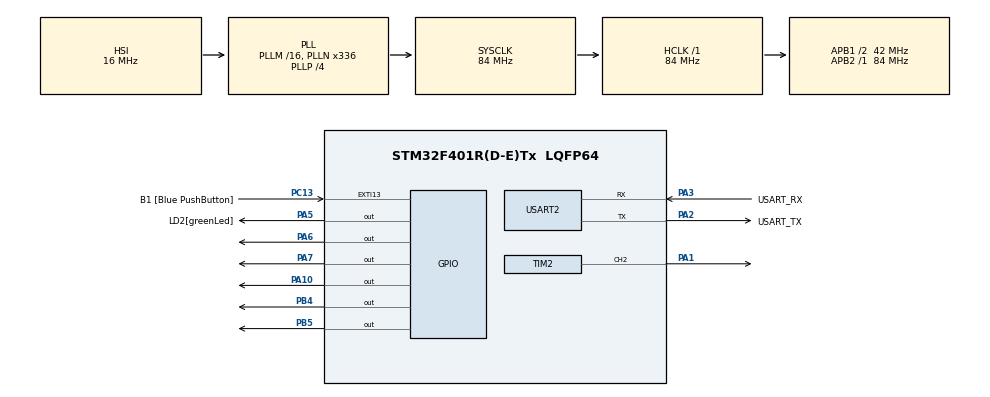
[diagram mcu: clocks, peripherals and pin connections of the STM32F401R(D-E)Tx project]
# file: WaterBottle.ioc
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Mcu.Family=STM32F4
Mcu.Name=STM32F401R(D-E)Tx
Mcu.Package=LQFP64
NVIC.PriorityGroup=NVIC_PRIORITYGROUP_0
NVIC.RTC_Alarm_IRQn=true\:0\:0\:false\:false\:true\:true\:true\:true
PA1.Signal=S_TIM2_CH2
PA10.Signal=GPIO_Output
PA13.GPIO_Label=TMS
PA13.Mode=Serial_Wire
PA13.Signal=SYS_JTMS-SWDIO
PA14.GPIO_Label=TCK
PA14.Mode=Serial_Wire
PA14.Signal=SYS_JTCK-SWCLK
PA2.GPIO_Label=USART_TX
PA2.GPIO_Mode=GPIO_MODE_AF_PP
PA2.GPIO_PuPd=GPIO_NOPULL
PA2.GPIO_Speed=GPIO_SPEED_FREQ_LOW
PA2.Mode=Asynchronous
PA2.Signal=USART2_TX
PA3.GPIO_Label=USART_RX
PA3.GPIO_Mode=GPIO_MODE_AF_PP
PA3.GPIO_PuPd=GPIO_NOPULL
PA3.GPIO_Speed=GPIO_SPEED_FREQ_LOW
PA3.Mode=Asynchronous
PA3.Signal=USART2_RX
PA5.GPIO_Label=LD2[greenLed]
PA5.Signal=GPIO_Output
PA6.Signal=GPIO_Output
PA7.Signal=GPIO_Output
PB3.Signal=SYS_JTDO-SWO
PB4.Signal=GPIO_Output
PB5.Signal=GPIO_Output
PC13-ANTI_TAMP.GPIO_Label=B1 [Blue PushButton]
PC13-ANTI_TAMP.GPIO_ModeDefaultEXTI=GPIO_MODE_IT_FALLING
PC13-ANTI_TAMP.GPIO_PuPd=GPIO_NOPULL
PC13-ANTI_TAMP.Signal=GPXTI13
PC14-OSC32_IN.Mode=LSE-External-Oscillator
PC14-OSC32_IN.Signal=RCC_OSC32_IN
PC15-OSC32_OUT.Mode=LSE-External-Oscillator
PC15-OSC32_OUT.Signal=RCC_OSC32_OUT
PH0\ -\ OSC_IN.Mode=HSE-External-Clock-Source
PH0\ -\ OSC_IN.Signal=RCC_OSC_IN
PH1\ -\ OSC_OUT.Mode=HSE-External-Clock-Source
PH1\ -\ OSC_OUT.Signal=RCC_OSC_OUT
ProjectManager.HeapSize=0x200
ProjectManager.StackSize=0x400
ProjectManager.TargetToolchain=STM32CubeIDE
RCC.48MHZClocksFreq_Value=48000000
RCC.AHBFreq_Value=84000000
RCC.APB1CLKDivider=RCC_HCLK_DIV2
RCC.APB1Freq_Value=42000000
RCC.APB1TimFreq_Value=84000000
RCC.APB2Freq_Value=84000000
RCC.APB2TimFreq_Value=84000000
RCC.CortexFreq_Value=84000000
RCC.HCLKFreq_Value=84000000
RCC.HSE_VALUE=8000000
RCC.HSI_VALUE=16000000
RCC.PLLN=336
RCC.PLLP=RCC_PLLP_DIV4
RCC.PLLQ=7
RCC.RCC_RTC_Clock_Source=RCC_RTCCLKSOURCE_LSE
RCC.SYSCLKFreq_VALUE=84000000
RCC.SYSCLKSource=RCC_SYSCLKSOURCE_PLLCLK
RCC.VCOOutputFreq_Value=336000000
RTC.Alarm=RTC_ALARM_A
RTC.Date=22
RTC.Month=RTC_MONTH_NOVEMBER
RTC.Seconds_A=0
RTC.WeekDay=RTC_WEEKDAY_WEDNESDAY
SH.S_TIM2_CH2.0=TIM2_CH2,PWM Generation2 CH2
TIM2.Channel-PWM\ Generation2\ CH2=TIM_CHANNEL_2
USART2.VirtualMode=VM_ASYNC
VP_RTC_VS_RTC_Activate.Mode=RTC_Enabled
VP_RTC_VS_RTC_Alarm_A_Intern.Mode=Alarm A
VP_RTC_VS_RTC_Calendar.Mode=RTC_Calendar
VP_TIM2_VS_ClockSourceINT.Mode=Internal
board=NUCLEO-F401RE

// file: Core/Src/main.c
/* USER CODE BEGIN Header */
/**
  ******************************************************************************
  * @file           : main.c
  * @brief          : Main program body
  ******************************************************************************
  * @attention
  *
  * Copyright (c) 2023 STMicroelectronics.
  * All rights reserved.
  *
  * This software is licensed under terms that can be found in the LICENSE file
  * in the root directory of this software component.
  * If no LICENSE file comes with this software, it is provided AS-IS.
  *
  ******************************************************************************
  */
/* USER CODE END Header */
#include "main.h"

/* USER CODE BEGIN Includes */
#include "HX711.h"
#include <stdio.h>
/* USER CODE END Includes */

RTC_HandleTypeDef hrtc;

TIM_HandleTypeDef htim2;

UART_HandleTypeDef huart2;

void SystemClock_Config(void);
static void MX_GPIO_Init(void);
static void MX_USART2_UART_Init(void);
static void MX_TIM2_Init(void);
static void MX_RTC_Init(void);

/* USER CODE BEGIN 0 */
void buzzer(){
	  HAL_GPIO_WritePin(GPIOA, GPIO_PIN_10, 1);
	  HAL_Delay(500);
 	  HAL_GPIO_WritePin(GPIOA, GPIO_PIN_10, 0);
	  HAL_Delay(500);
}

/**
 * @brief  Weight Initialization Function
 * @retval None
 */
void init_weight(hx711_t *hx711){
	char buffer[128] = {0};

	printf(buffer,"HX711 initialization\n\r");
	HAL_UART_Transmit(&huart2, (uint8_t *)(buffer), sizeof(buffer), 100);

	/* Initialize the hx711 sensors */
	hx711_init(hx711, GPIOB, GPIO_PIN_4, GPIOB, GPIO_PIN_5);

	/* Configure gain for each channel (see datasheet for details) */
	set_gain(hx711, 128, 32);

	/* Set HX711 scaling factor (see README for procedure) */
	set_scale(hx711, -44.25, -10.98);

	/* Tare weight */
	tare_all(hx711, 10);

	printf(buffer,"HX711 module has been initialized\n\r");
	HAL_UART_Transmit(&huart2, (uint8_t *)(buffer), sizeof(buffer), 100);
}

/**
 * @brief  Weight Measuring Function
 * @retval the weight measured for each associated channel
 */

float measure_weight(hx711_t hx711){
	long weightA = 0;

	// Measure the weight for channel A
	weightA = get_weight(&hx711, 10, CHANNEL_A);
	// Weight cannot be negative
	weightA = (weightA < 0) ? 0 : weightA;

	return weightA;
}

int _write(int le, char *ptr, int len){
	int DataIdx;
	for(DataIdx = 0; DataIdx < len; DataIdx++){
		ITM_SendChar(*ptr++);
	}
	return len;
}

float calculate(const float previous_weight, const float current_weight){
	int ans = previous_weight - current_weight;
	if(ans > 0.0) {
		return ans;
	} else {
		return 0.0;
	}
}

int get_time_in_seconds(void){
	 RTC_DateTypeDef gDate;
	 RTC_TimeTypeDef gTime;
	/* Get the RTC current Time */
	 HAL_RTC_GetTime(&hrtc, &gTime, RTC_FORMAT_BIN);
	/* Get the RTC current Date */
	 HAL_RTC_GetDate(&hrtc, &gDate, RTC_FORMAT_BIN);
	 int seconds = gTime.Hours * 3600 + gTime.Minutes * 60 + gTime.Seconds;
	 return seconds;
}

float moving_average(float arr[]) {
	int size = 5;
	int window_size = 3;
	int i = 0;
	float moving_averages[3];
	while (i < size - window_size + 1) {
		int window[3];
		int j;

		for (j = 0; j < window_size; j++) {
			window[j] = arr[i + j];
		}

		float window_average = 0;

		for (j = 0; j < window_size; j++) {
			window_average += window[j];
		}
		window_average /= window_size;
		moving_averages[i] = window_average;
		i++;
    }
	float sum = 0;
	for(i = 0; i < 3; i++)
        sum += moving_averages[i];
	float moving_average = sum/3;
	return moving_average;
}

/* USER CODE END 0 */

int main(void)
{

  /* MCU Configuration--------------------------------------------------------*/

  /* Reset of all peripherals, Initializes the Flash interface and the Systick. */
  HAL_Init();

  /* Configure the system clock */
  SystemClock_Config();

  /* Initialize all configured peripherals */
  MX_GPIO_Init();
  MX_USART2_UART_Init();
  MX_TIM2_Init();
  MX_RTC_Init();
  /* USER CODE BEGIN 2 */
  hx711_t loadcell;
  float weight;
  init_weight(&loadcell);

  float previous_weight;
  hx711_init(&loadcell, GPIOB, GPIO_PIN_4, GPIOB, GPIO_PIN_5);
  int lightOnOff = 0;
  int maleMode = 1;
  float waterConsumed = 0;
  const int MALE_GOAL = 1000;
  const int FEMALE_GOAL = 800;
  int previous_time = get_time_in_seconds();
  int current_time = 0;
  int FIRST = 1;
  int water_level_changed = 0;
  /* USER CODE END 2 */

  /* Infinite loop */
  while (1)
  {

    /* USER CODE BEGIN 3 */
	  printf("Program running ... \n");
	  if(HAL_GPIO_ReadPin(GPIOC, GPIO_PIN_13) == GPIO_PIN_RESET){
		  if(lightOnOff == 0) lightOnOff = 1;
		  else lightOnOff = 0;

		  HAL_GPIO_WritePin(GPIOA, GPIO_PIN_6, lightOnOff);

		  if(maleMode == 1) maleMode = 0;
		  else maleMode = 1;
//		  buzzer();
	  }

	  if(FIRST == 1){
	  	previous_weight = measure_weight(loadcell);
	  	FIRST = 0;
	  }

	  float arr[5];
	  for(int i = 0; i < 5; i++) {
		  arr[i] = measure_weight(loadcell);
	  }
	  weight = moving_average(arr);

	  printf("%f",weight);
	  int calc = calculate(previous_weight, weight);
	  // ignore change in water level if less than 5
	  if(calc < 5){
		  calc = 0;
		  water_level_changed = 0;
	  }else {
		  water_level_changed = 1;
		  current_time = get_time_in_seconds();
		  previous_time = current_time;
	  }
	  waterConsumed += calc;
	  previous_weight = weight;

	  if(maleMode == 1){
	  	if(waterConsumed >= MALE_GOAL){
	  		HAL_GPIO_WritePin(GPIOA, GPIO_PIN_7, 1);
	  	}
	  }
	  else{
		if(waterConsumed >= FEMALE_GOAL) {
			HAL_GPIO_WritePin(GPIOA, GPIO_PIN_7, 1);
		}
	  }

	  current_time = get_time_in_seconds();
	  if(current_time - previous_time > 10){
		  previous_time = current_time;
		  if(water_level_changed == 0){
			  buzzer();
		  }
	  }
 }
  /* USER CODE END 3 */
}

void SystemClock_Config(void)
{
  RCC_OscInitTypeDef RCC_OscInitStruct = {0};
  RCC_ClkInitTypeDef RCC_ClkInitStruct = {0};

  /** Configure the main internal regulator output voltage
  */
  __HAL_RCC_PWR_CLK_ENABLE();
  __HAL_PWR_VOLTAGESCALING_CONFIG(PWR_REGULATOR_VOLTAGE_SCALE2);

  /** Initializes the RCC Oscillators according to the specified parameters
  * in the RCC_OscInitTypeDef structure.
  */
  RCC_OscInitStruct.OscillatorType = RCC_OSCILLATORTYPE_HSI|RCC_OSCILLATORTYPE_LSE;
  RCC_OscInitStruct.LSEState = RCC_LSE_ON;
  RCC_OscInitStruct.HSIState = RCC_HSI_ON;
  RCC_OscInitStruct.HSICalibrationValue = RCC_HSICALIBRATION_DEFAULT;
  RCC_OscInitStruct.PLL.PLLState = RCC_PLL_ON;
  RCC_OscInitStruct.PLL.PLLSource = RCC_PLLSOURCE_HSI;
  RCC_OscInitStruct.PLL.PLLM = 16;
  RCC_OscInitStruct.PLL.PLLN = 336;
  RCC_OscInitStruct.PLL.PLLP = RCC_PLLP_DIV4;
  RCC_OscInitStruct.PLL.PLLQ = 7;
  if (HAL_RCC_OscConfig(&RCC_OscInitStruct) != HAL_OK)
  {
    Error_Handler();
  }

  /** Initializes the CPU, AHB and APB buses clocks
  */
  RCC_ClkInitStruct.ClockType = RCC_CLOCKTYPE_HCLK|RCC_CLOCKTYPE_SYSCLK
                              |RCC_CLOCKTYPE_PCLK1|RCC_CLOCKTYPE_PCLK2;
  RCC_ClkInitStruct.SYSCLKSource = RCC_SYSCLKSOURCE_PLLCLK;
  RCC_ClkInitStruct.AHBCLKDivider = RCC_SYSCLK_DIV1;
  RCC_ClkInitStruct.APB1CLKDivider = RCC_HCLK_DIV2;
  RCC_ClkInitStruct.APB2CLKDivider = RCC_HCLK_DIV1;

  if (HAL_RCC_ClockConfig(&RCC_ClkInitStruct, FLASH_LATENCY_2) != HAL_OK)
  {
    Error_Handler();
  }
}

static void MX_RTC_Init(void)
{

  RTC_TimeTypeDef sTime = {0};
  RTC_DateTypeDef sDate = {0};
  RTC_AlarmTypeDef sAlarm = {0};

  /** Initialize RTC Only
  */
  hrtc.Instance = RTC;
  hrtc.Init.HourFormat = RTC_HOURFORMAT_24;
  hrtc.Init.AsynchPrediv = 127;
  hrtc.Init.SynchPrediv = 255;
  hrtc.Init.OutPut = RTC_OUTPUT_DISABLE;
  hrtc.Init.OutPutPolarity = RTC_OUTPUT_POLARITY_HIGH;
  hrtc.Init.OutPutType = RTC_OUTPUT_TYPE_OPENDRAIN;
  if (HAL_RTC_Init(&hrtc) != HAL_OK)
  {
    Error_Handler();
  }

  /** Initialize RTC and set the Time and Date
  */
  sTime.Hours = 0x0;
  sTime.Minutes = 0x0;
  sTime.Seconds = 0x0;
  sTime.DayLightSaving = RTC_DAYLIGHTSAVING_NONE;
  sTime.StoreOperation = RTC_STOREOPERATION_RESET;
  if (HAL_RTC_SetTime(&hrtc, &sTime, RTC_FORMAT_BCD) != HAL_OK)
  {
    Error_Handler();
  }
  sDate.WeekDay = RTC_WEEKDAY_WEDNESDAY;
  sDate.Month = RTC_MONTH_NOVEMBER;
  sDate.Date = 0x22;
  sDate.Year = 0x0;

  if (HAL_RTC_SetDate(&hrtc, &sDate, RTC_FORMAT_BCD) != HAL_OK)
  {
    Error_Handler();
  }

  /** Enable the Alarm A
  */
  sAlarm.AlarmTime.Hours = 0x0;
  sAlarm.AlarmTime.Minutes = 0x0;
  sAlarm.AlarmTime.Seconds = 0x0;
  sAlarm.AlarmTime.SubSeconds = 0x0;
  sAlarm.AlarmTime.DayLightSaving = RTC_DAYLIGHTSAVING_NONE;
  sAlarm.AlarmTime.StoreOperation = RTC_STOREOPERATION_RESET;
  sAlarm.AlarmMask = RTC_ALARMMASK_NONE;
  sAlarm.AlarmSubSecondMask = RTC_ALARMSUBSECONDMASK_ALL;
  sAlarm.AlarmDateWeekDaySel = RTC_ALARMDATEWEEKDAYSEL_DATE;
  sAlarm.AlarmDateWeekDay = 0x1;
  sAlarm.Alarm = RTC_ALARM_A;
  if (HAL_RTC_SetAlarm_IT(&hrtc, &sAlarm, RTC_FORMAT_BCD) != HAL_OK)
  {
    Error_Handler();
  }

}

static void MX_TIM2_Init(void)
{

  TIM_ClockConfigTypeDef sClockSourceConfig = {0};
  TIM_MasterConfigTypeDef sMasterConfig = {0};
  TIM_OC_InitTypeDef sConfigOC = {0};

  htim2.Instance = TIM2;
  htim2.Init.Prescaler = 0;
  htim2.Init.CounterMode = TIM_COUNTERMODE_UP;
  htim2.Init.Period = 4294967295;
  htim2.Init.ClockDivision = TIM_CLOCKDIVISION_DIV1;
  htim2.Init.AutoReloadPreload = TIM_AUTORELOAD_PRELOAD_DISABLE;
  if (HAL_TIM_Base_Init(&htim2) != HAL_OK)
  {
    Error_Handler();
  }
  sClockSourceConfig.ClockSource = TIM_CLOCKSOURCE_INTERNAL;
  if (HAL_TIM_ConfigClockSource(&htim2, &sClockSourceConfig) != HAL_OK)
  {
    Error_Handler();
  }
  if (HAL_TIM_PWM_Init(&htim2) != HAL_OK)
  {
    Error_Handler();
  }
  sMasterConfig.MasterOutputTrigger = TIM_TRGO_RESET;
  sMasterConfig.MasterSlaveMode = TIM_MASTERSLAVEMODE_DISABLE;
  if (HAL_TIMEx_MasterConfigSynchronization(&htim2, &sMasterConfig) != HAL_OK)
  {
    Error_Handler();
  }
  sConfigOC.OCMode = TIM_OCMODE_PWM1;
  sConfigOC.Pulse = 0;
  sConfigOC.OCPolarity = TIM_OCPOLARITY_HIGH;
  sConfigOC.OCFastMode = TIM_OCFAST_DISABLE;
  if (HAL_TIM_PWM_ConfigChannel(&htim2, &sConfigOC, TIM_CHANNEL_2) != HAL_OK)
  {
    Error_Handler();
  }
  HAL_TIM_MspPostInit(&htim2);

}

static void MX_USART2_UART_Init(void)
{

  huart2.Instance = USART2;
  huart2.Init.BaudRate = 115200;
  huart2.Init.WordLength = UART_WORDLENGTH_8B;
  huart2.Init.StopBits = UART_STOPBITS_1;
  huart2.Init.Parity = UART_PARITY_NONE;
  huart2.Init.Mode = UART_MODE_TX_RX;
  huart2.Init.HwFlowCtl = UART_HWCONTROL_NONE;
  huart2.Init.OverSampling = UART_OVERSAMPLING_16;
  if (HAL_UART_Init(&huart2) != HAL_OK)
  {
    Error_Handler();
  }

}

static void MX_GPIO_Init(void)
{
  GPIO_InitTypeDef GPIO_InitStruct = {0};

  /* GPIO Ports Clock Enable */
  __HAL_RCC_GPIOC_CLK_ENABLE();
  __HAL_RCC_GPIOH_CLK_ENABLE();
  __HAL_RCC_GPIOA_CLK_ENABLE();
  __HAL_RCC_GPIOB_CLK_ENABLE();

  /*Configure GPIO pin Output Level */
  HAL_GPIO_WritePin(GPIOA, LD2_Pin|GPIO_PIN_6|GPIO_PIN_7|GPIO_PIN_10, GPIO_PIN_RESET);

  /*Configure GPIO pin Output Level */
  HAL_GPIO_WritePin(GPIOB, GPIO_PIN_4|GPIO_PIN_5, GPIO_PIN_RESET);

  /*Configure GPIO pin : B1_Pin */
  GPIO_InitStruct.Pin = B1_Pin;
  GPIO_InitStruct.Mode = GPIO_MODE_IT_FALLING;
  GPIO_InitStruct.Pull = GPIO_NOPULL;
  HAL_GPIO_Init(B1_GPIO_Port, &GPIO_InitStruct);

  /*Configure GPIO pins : LD2_Pin PA6 PA7 PA10 */
  GPIO_InitStruct.Pin = LD2_Pin|GPIO_PIN_6|GPIO_PIN_7|GPIO_PIN_10;
  GPIO_InitStruct.Mode = GPIO_MODE_OUTPUT_PP;
  GPIO_InitStruct.Pull = GPIO_NOPULL;
  GPIO_InitStruct.Speed = GPIO_SPEED_FREQ_LOW;
  HAL_GPIO_Init(GPIOA, &GPIO_InitStruct);

  /*Configure GPIO pins : PB4 PB5 */
  GPIO_InitStruct.Pin = GPIO_PIN_4|GPIO_PIN_5;
  GPIO_InitStruct.Mode = GPIO_MODE_OUTPUT_PP;
  GPIO_InitStruct.Pull = GPIO_NOPULL;
  GPIO_InitStruct.Speed = GPIO_SPEED_FREQ_LOW;
  HAL_GPIO_Init(GPIOB, &GPIO_InitStruct);

}

void Error_Handler(void)
{
  __disable_irq();
  while (1)
  {
  }
}
